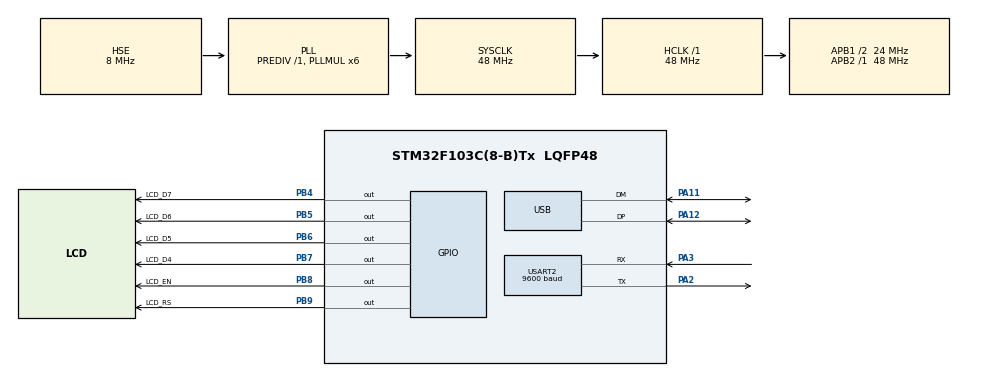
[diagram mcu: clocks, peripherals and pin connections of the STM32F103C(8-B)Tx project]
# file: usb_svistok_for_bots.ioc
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Mcu.Family=STM32F1
Mcu.Name=STM32F103C(8-B)Tx
Mcu.Package=LQFP48
NVIC.PriorityGroup=NVIC_PRIORITYGROUP_4
NVIC.USART2_IRQn=true\:0\:0\:false\:false\:true\:true\:true
NVIC.USB_LP_CAN1_RX0_IRQn=true\:0\:0\:false\:false\:true\:false\:true
PA11.Mode=Device
PA11.Signal=USB_DM
PA12.Mode=Device
PA12.Signal=USB_DP
PA13.Mode=Serial_Wire
PA13.Signal=SYS_JTMS-SWDIO
PA14.Mode=Serial_Wire
PA14.Signal=SYS_JTCK-SWCLK
PA2.Mode=Asynchronous
PA2.Signal=USART2_TX
PA3.Mode=Asynchronous
PA3.Signal=USART2_RX
PB4.GPIO_Label=LCD_D7
PB4.GPIO_Speed=GPIO_SPEED_FREQ_HIGH
PB4.Signal=GPIO_Output
PB5.GPIO_Label=LCD_D6
PB5.GPIO_Speed=GPIO_SPEED_FREQ_HIGH
PB5.Signal=GPIO_Output
PB6.GPIO_Label=LCD_D5
PB6.GPIO_Speed=GPIO_SPEED_FREQ_HIGH
PB6.Signal=GPIO_Output
PB7.GPIO_Label=LCD_D4
PB7.GPIO_Speed=GPIO_SPEED_FREQ_HIGH
PB7.Signal=GPIO_Output
PB8.GPIO_Label=LCD_EN
PB8.GPIO_Speed=GPIO_SPEED_FREQ_HIGH
PB8.Signal=GPIO_Output
PB9.GPIO_Label=LCD_RS
PB9.GPIO_Speed=GPIO_SPEED_FREQ_HIGH
PB9.Signal=GPIO_Output
PD0-OSC_IN.Mode=HSE-External-Oscillator
PD0-OSC_IN.Signal=RCC_OSC_IN
PD1-OSC_OUT.Mode=HSE-External-Oscillator
PD1-OSC_OUT.Signal=RCC_OSC_OUT
ProjectManager.HeapSize=0x200
ProjectManager.StackSize=0x400
ProjectManager.TargetToolchain=STM32CubeIDE
RCC.AHBFreq_Value=48000000
RCC.APB1CLKDivider=RCC_HCLK_DIV2
RCC.APB1Freq_Value=24000000
RCC.APB1TimFreq_Value=48000000
RCC.APB2Freq_Value=48000000
RCC.APB2TimFreq_Value=48000000
RCC.HCLKFreq_Value=48000000
RCC.PLLMUL=RCC_PLL_MUL6
RCC.SYSCLKFreq_VALUE=48000000
RCC.SYSCLKSource=RCC_SYSCLKSOURCE_PLLCLK
RCC.USBFreq_Value=48000000
USART2.BaudRate=9600
USART2.VirtualMode=VM_ASYNC
USB_DEVICE.CLASS_NAME_FS=HID
USB_DEVICE.VirtualMode=Hid
USB_DEVICE.VirtualModeFS=Hid_FS
VP_USB_DEVICE_VS_USB_DEVICE_HID_FS.Mode=HID_FS
board=custom

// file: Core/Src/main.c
/* USER CODE BEGIN Header */
/**
 * индикотор 1602А(4бита) отображает полученыые по USART одиночные символы
 *
  ******************************************************************************
  * @file           : main.c
  * @brief          : Main program body
  ******************************************************************************
  * @attention
  *
  * <h2><center>&copy; Copyright (c) 2021 STMicroelectronics.
  * All rights reserved.</center></h2>
  *
  * This software component is licensed by ST under BSD 3-Clause license,
  * the "License"; You may not use this file except in compliance with the
  * License. You may obtain a copy of the License at:
  *                        opensource.org/licenses/BSD-3-Clause
  *
  ******************************************************************************
  */
/* USER CODE END Header */
#include "main.h"
#include "usb_device.h"

/* USER CODE BEGIN Includes */
#include "lcd_1602a.h"
/* USER CODE END Includes */

/* USER CODE BEGIN PD */
#define BUFFER_LENGTH 5
#define CLICK_REPORT_SIZE 6
#define KEYBRD_REPORT_SIZE 9
/* USER CODE END PD */

UART_HandleTypeDef huart2;

/* USER CODE BEGIN PV */
extern int uart_recieve_message;
uint8_t click_report[CLICK_REPORT_SIZE] = {0};
uint8_t keybrd_report[KEYBRD_REPORT_SIZE] = {0};
extern USBD_HandleTypeDef hUsbDeviceFS;
uint8_t buff[BUFFER_LENGTH] = {0,};
int counter = 0;	// для отслеживания переполнения индикатора

/* USER CODE END PV */

void SystemClock_Config(void);
static void MX_GPIO_Init(void);
static void MX_USART2_UART_Init(void);

/* USER CODE BEGIN 0 */

//функция заполнения буфера отправки
void report_loader_keyboard(void)
{
	uint8_t b = buff[0];					// пришедший байт-код
	uint8_t btn_code = b & 0x7F;			// выделить код клавиши, соответствующий таблице Keyboard/Keypad Page (0x07) HID Usage Descriptions
	uint8_t press_release_flag = b & 0x80;	// выделить старший байт. 0 = кн нажатаб 1 = кн. отпущена

	// если флаг нажатия кнопки - добавить код в свободный байт репорта
	if(btn_code<0x70)					// символы до клавиш-модификаторов
	{
		if(press_release_flag==0)
		{
			uint8_t zero_byte = 0;			// первый нулевой байт
			uint8_t this_btn_present = 0;	// код нажатой клавиши есть
			for(uint8_t i=8; i>2; i--)
			{
				if(keybrd_report[i]==0) zero_byte = i;	// ищем нулевые байты, самый первый по счету в буфере будет в этой переменной
				if(keybrd_report[i]==btn_code) this_btn_present = 1; // код нажатой кнопки присутствует в буфере
			}
			// если код кнопки ещё не в буфере и пустой байт для кнопок в наличии, заносим в него код кнопки
			if(this_btn_present==0)
			{
				if(zero_byte>0) keybrd_report[zero_byte]=btn_code; // : (keybrd_report[zero_byte]=0);
			}
		}
		else	// если код отпускания кнопки - найти код этой кнопки и заменить нулем
		{
			for(uint8_t i=3; i<9; i++)
			{
				if(keybrd_report[i]==btn_code) keybrd_report[i] = 0;
			}
		}
	}
	else
	{
		// коды CtrlShiftAltGUI вместо Е0-Е7 кодируются как 0x70-0x77
		// 70 Keyboard LeftControl 0x01; 71 Keyboard LeftShift 0x02; 72 Keyboard LeftAlt 0x04; 73 Keyboard Left GUI 0x08
		// 74 Keyboard RightControl	0x10; 75 Keyboard RightShift 0x20; 76 Keyboard RightAlt	0x40; 77 Keyboard Right GUI	0x80

		for(uint8_t i=0; i<8; i++)
		{
			if(btn_code==0x70+i) press_release_flag==0 ? (keybrd_report[1] |= (0x01<<i)) : (keybrd_report[1] &= ~(0x01<<i));
		}
	}
}

/* USER CODE END 0 */

int main(void)
{
  /* USER CODE BEGIN 1 */
	keybrd_report[0] = 1; // reportID
	click_report[0] = 2;
  /* USER CODE END 1 */

  /* MCU Configuration--------------------------------------------------------*/

  /* Reset of all peripherals, Initializes the Flash interface and the Systick. */
  HAL_Init();

  /* USER CODE BEGIN Init */
  DWT_Init();
  HAL_UART_Receive_IT(&huart2, (uint8_t*)buff, BUFFER_LENGTH);
  /* USER CODE END Init */

  /* Configure the system clock */
  SystemClock_Config();

  /* Initialize all configured peripherals */
  MX_GPIO_Init();
  MX_USART2_UART_Init();
  MX_USB_DEVICE_Init();
  /* USER CODE BEGIN 2 */
  InitializeLCD();
  /* USER CODE END 2 */

  /* Infinite loop */
  /* USER CODE BEGIN WHILE */
  ClearLCDScreen();
  setCursor(0,0);

  while (1)
  {
	  //testPressRelease_1();

	  HAL_UART_Receive_IT(&huart2, (uint8_t*)buff, BUFFER_LENGTH);

	  if(uart_recieve_message==1)
	  {
		  HAL_Delay(10); //прерывание приходит с 1 символом, подождать пока придут все символы

		  if(buff[0]==1)
		  {
			  for(uint8_t i=0; i<5; i++) keybrd_report[i] = buff[i];
			  USBD_HID_SendReport(&hUsbDeviceFS, keybrd_report, KEYBRD_REPORT_SIZE);
		  }

		  if(buff[0]==2)
		  {
			  for(uint8_t i=0; i<5; i++) click_report[i] = buff[i];
			  USBD_HID_SendReport(&hUsbDeviceFS, click_report, CLICK_REPORT_SIZE);
		  }

		  if(buff[0]==3)
		  {
			  // ========= очистка экрана 1602А при заполнении =========================
			  counter++;
			  if(counter==16) setCursor(1,0);
			  if(counter==32)
			  {
				  counter = 0;
				  setCursor(0,0);
				  ClearLCDScreen();
			  }
			  //==========================================================================
			  //PrintStr((uint8_t*)buff);	//PrintStr("Chundra");
			  SendByte(buff[1], 1);
		  }

		  // mouse experiment
		  /*
		  click_report[0] = 2; // ID репорта мыши

		  // нажать кнопку мыши
		  click_report[1] = 1; // send left button press
		  click_report[2] = 0; // X coord
		  click_report[3] = 0; // Y coord
		  USBD_HID_SendReport(&hUsbDeviceFS, click_report, CLICK_REPORT_SIZE);
		  HAL_Delay(50);

		  // провести линию вправо на 100 пикселей
		  click_report[2] = 100; // X coord
		  USBD_HID_SendReport(&hUsbDeviceFS, click_report, CLICK_REPORT_SIZE);
		  HAL_Delay(50);

		  // отпустить кнопку
		  click_report[1] = 0; // send left button press
		  click_report[2] = 0; // X coord
		  click_report[3] = 0; // Y coord
		  USBD_HID_SendReport(&hUsbDeviceFS, click_report, CLICK_REPORT_SIZE);
		  HAL_Delay(50);

		  // переместить мышь вниз на 50 пикселей
		  click_report[3] = 50; // Y coord
		  USBD_HID_SendReport(&hUsbDeviceFS, click_report, CLICK_REPORT_SIZE);
		  HAL_Delay(50);

		  // нажать кнопку мыши
		  click_report[1] = 1; // send left button press
		  click_report[3] = 0; // Y coord
		  USBD_HID_SendReport(&hUsbDeviceFS, click_report, CLICK_REPORT_SIZE);
		  HAL_Delay(50);
		  // провести линию влево на 75 пикселей
		  click_report[2] = -75; // X coord
		  USBD_HID_SendReport(&hUsbDeviceFS, click_report, CLICK_REPORT_SIZE);
		  HAL_Delay(50);

		  // отпустить кнопку мыши
		  click_report[1] = 0; // send left button press
		  click_report[2] = 0; // X coord
		  USBD_HID_SendReport(&hUsbDeviceFS, click_report, CLICK_REPORT_SIZE);

		  HAL_Delay(5000);
			*/
		  //==========================================================================
		  //HAL_Delay(10);
		  uart_recieve_message = 0;
	  }
    /* USER CODE END WHILE */

    /* USER CODE BEGIN 3 */
	  //HAL_UART_Transmit_IT(&huart2, (uint8_t*)"ab", 2);
  }
  /* USER CODE END 3 */
}

void SystemClock_Config(void)
{
  RCC_OscInitTypeDef RCC_OscInitStruct = {0};
  RCC_ClkInitTypeDef RCC_ClkInitStruct = {0};
  RCC_PeriphCLKInitTypeDef PeriphClkInit = {0};

  /** Initializes the RCC Oscillators according to the specified parameters
  * in the RCC_OscInitTypeDef structure.
  */
  RCC_OscInitStruct.OscillatorType = RCC_OSCILLATORTYPE_HSE;
  RCC_OscInitStruct.HSEState = RCC_HSE_ON;
  RCC_OscInitStruct.HSEPredivValue = RCC_HSE_PREDIV_DIV1;
  RCC_OscInitStruct.HSIState = RCC_HSI_ON;
  RCC_OscInitStruct.PLL.PLLState = RCC_PLL_ON;
  RCC_OscInitStruct.PLL.PLLSource = RCC_PLLSOURCE_HSE;
  RCC_OscInitStruct.PLL.PLLMUL = RCC_PLL_MUL6;
  if (HAL_RCC_OscConfig(&RCC_OscInitStruct) != HAL_OK)
  {
    Error_Handler();
  }
  /** Initializes the CPU, AHB and APB buses clocks
  */
  RCC_ClkInitStruct.ClockType = RCC_CLOCKTYPE_HCLK|RCC_CLOCKTYPE_SYSCLK
                              |RCC_CLOCKTYPE_PCLK1|RCC_CLOCKTYPE_PCLK2;
  RCC_ClkInitStruct.SYSCLKSource = RCC_SYSCLKSOURCE_PLLCLK;
  RCC_ClkInitStruct.AHBCLKDivider = RCC_SYSCLK_DIV1;
  RCC_ClkInitStruct.APB1CLKDivider = RCC_HCLK_DIV2;
  RCC_ClkInitStruct.APB2CLKDivider = RCC_HCLK_DIV1;

  if (HAL_RCC_ClockConfig(&RCC_ClkInitStruct, FLASH_LATENCY_1) != HAL_OK)
  {
    Error_Handler();
  }
  PeriphClkInit.PeriphClockSelection = RCC_PERIPHCLK_USB;
  PeriphClkInit.UsbClockSelection = RCC_USBCLKSOURCE_PLL;
  if (HAL_RCCEx_PeriphCLKConfig(&PeriphClkInit) != HAL_OK)
  {
    Error_Handler();
  }
}

static void MX_USART2_UART_Init(void)
{

  huart2.Instance = USART2;
  huart2.Init.BaudRate = 9600;
  huart2.Init.WordLength = UART_WORDLENGTH_8B;
  huart2.Init.StopBits = UART_STOPBITS_1;
  huart2.Init.Parity = UART_PARITY_NONE;
  huart2.Init.Mode = UART_MODE_TX_RX;
  huart2.Init.HwFlowCtl = UART_HWCONTROL_NONE;
  huart2.Init.OverSampling = UART_OVERSAMPLING_16;
  if (HAL_UART_Init(&huart2) != HAL_OK)
  {
    Error_Handler();
  }

}

static void MX_GPIO_Init(void)
{
  GPIO_InitTypeDef GPIO_InitStruct = {0};

  /* GPIO Ports Clock Enable */
  __HAL_RCC_GPIOD_CLK_ENABLE();
  __HAL_RCC_GPIOA_CLK_ENABLE();
  __HAL_RCC_GPIOB_CLK_ENABLE();

  /*Configure GPIO pin Output Level */
  HAL_GPIO_WritePin(GPIOB, LCD_D7_Pin|LCD_D6_Pin|LCD_D5_Pin|LCD_D4_Pin
                          |LCD_EN_Pin|LCD_RS_Pin, GPIO_PIN_RESET);

  /*Configure GPIO pins : LCD_D7_Pin LCD_D6_Pin LCD_D5_Pin LCD_D4_Pin
                           LCD_EN_Pin LCD_RS_Pin */
  GPIO_InitStruct.Pin = LCD_D7_Pin|LCD_D6_Pin|LCD_D5_Pin|LCD_D4_Pin
                          |LCD_EN_Pin|LCD_RS_Pin;
  GPIO_InitStruct.Mode = GPIO_MODE_OUTPUT_PP;
  GPIO_InitStruct.Pull = GPIO_NOPULL;
  GPIO_InitStruct.Speed = GPIO_SPEED_FREQ_HIGH;
  HAL_GPIO_Init(GPIOB, &GPIO_InitStruct);

}

void Error_Handler(void)
{
}

/************************ (C) COPYRIGHT STMicroelectronics *****END OF FILE****/
